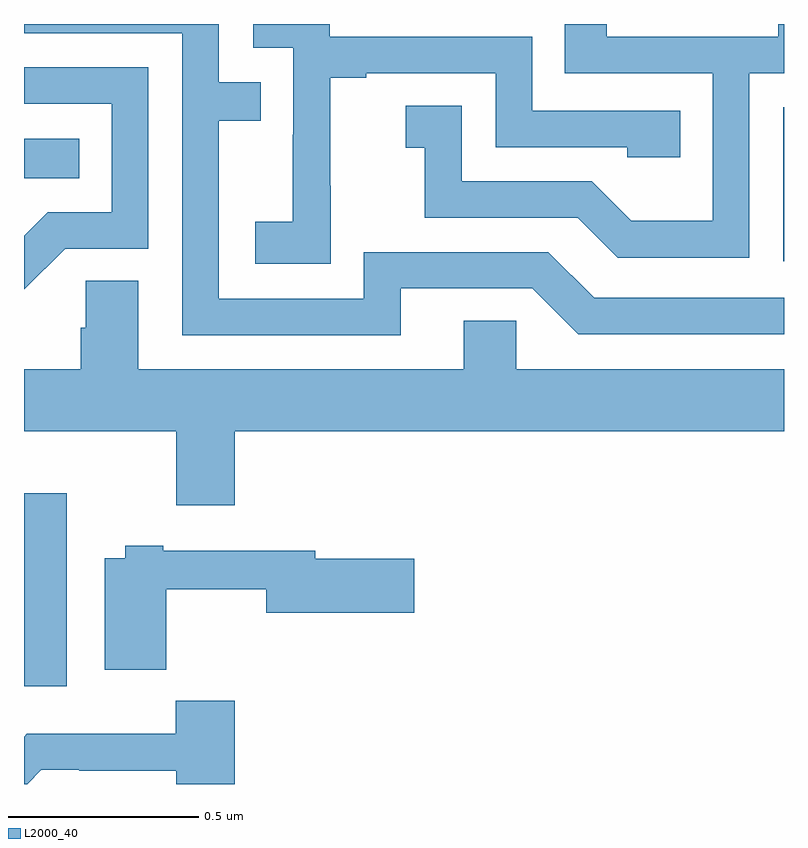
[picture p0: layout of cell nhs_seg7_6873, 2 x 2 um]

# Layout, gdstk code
import gdstk
lib = gdstk.Library(unit=1e-6, precision=1e-09)
def R(c, l, rs):  # rectangles x0, y0, x1, y1
    for r in rs: c.add(gdstk.rectangle(r[:2], r[2:], *l))
def P(c, l, *ps):  # polygons
    for p in ps: c.add(gdstk.Polygon(p, *l))
L2000_40 = (2000, 40)

nhs_seg7_6873 = lib.new_cell('nhs_seg7_6873')
R(nhs_seg7_6873, L2000_40, [(204,1021.257,204.112,1021.765), (205.998,1022.376,206,1022.781), (204,1022.594,204.146,1022.698)])
P(nhs_seg7_6873, L2000_40, [(205.908,1022.871),(206,1022.871),(206,1023),(205.985,1023),(205.985,1022.967),(205.534,1022.967),(205.534,1023),(205.423,1023),(205.423,1022.871),(205.812,1022.871),(205.812,1022.482),(205.598,1022.482),(205.494,1022.586),(205.152,1022.586),(205.152,1022.785),(205.005,1022.785),(205.005,1022.675),(205.054,1022.675),(205.054,1022.49),(205.457,1022.49),(205.562,1022.385),(205.908,1022.385)],
  [(204.991,1022.304),(205.338,1022.304),(205.458,1022.184),(206,1022.184),(206,1022.28),(205.5,1022.28),(205.38,1022.4),(204.894,1022.4),(204.894,1022.277),(204.513,1022.277),(204.513,1022.746),(204.623,1022.746),(204.623,1022.847),(204.513,1022.847),(204.513,1023),(204,1023),(204,1022.976),(204.417,1022.976),(204.417,1022.181),(204.991,1022.181)],
  [(204.807,1022.575),(204.806,1022.575),(204.806,1022.859),(204.901,1022.859),(204.901,1022.871),(205.242,1022.871),(205.242,1022.676),(205.587,1022.676),(205.587,1022.649),(205.727,1022.649),(205.727,1022.772),(205.338,1022.772),(205.338,1022.967),(204.804,1022.967),(204.804,1023),(204.603,1023),(204.603,1022.937),(204.708,1022.937),(204.708,1022.708),(204.707,1022.708),(204.707,1022.479),(204.609,1022.479),(204.609,1022.369),(204.807,1022.369)],
  [(204.108,1022.409),(204.327,1022.409),(204.327,1022.886),(204,1022.886),(204,1022.79),(204.231,1022.79),(204.231,1022.505),(204.062,1022.505),(204,1022.443),(204,1022.302)],
  [(204.554,1021.928),(206,1021.928),(206,1022.092),(205.296,1022.092),(205.296,1022.219),(205.157,1022.219),(205.157,1022.092),(204.301,1022.092),(204.301,1022.324),(204.162,1022.324),(204.162,1022.201),(204.149,1022.201),(204.149,1022.092),(204,1022.092),(204,1021.928),(204.401,1021.928),(204.401,1021.734),(204.554,1021.734)],
  [(204.374,1021.513),(204.638,1021.513),(204.638,1021.451),(205.027,1021.451),(205.027,1021.593),(204.766,1021.593),(204.766,1021.614),(204.367,1021.614),(204.367,1021.627),(204.267,1021.627),(204.267,1021.594),(204.212,1021.594),(204.212,1021.301),(204.374,1021.301)],
  [(204.046,1021.038),(204.145,1021.038),(204.145,1021.035),(204.401,1021.035),(204.401,1021),(204.554,1021),(204.554,1021.219),(204.399,1021.219),(204.399,1021.132),(204.007,1021.132),(204,1021.125),(204,1021),(204.008,1021)])

lib.write_gds('nhs_seg7_6873.gds')
